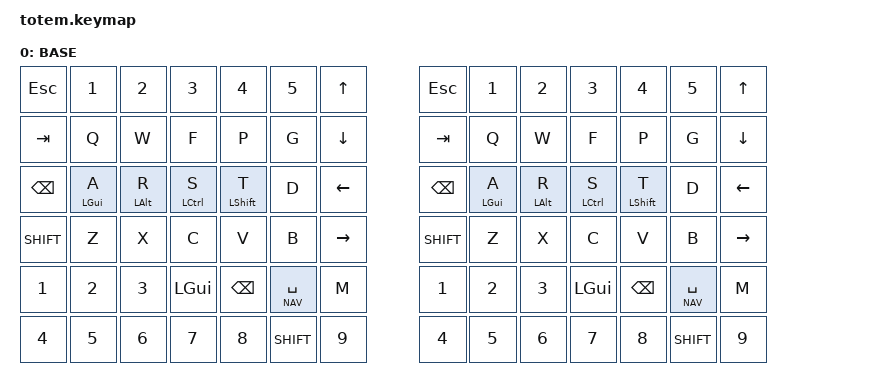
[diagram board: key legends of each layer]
#include <behaviors.dtsi>
#include <dt-bindings/zmk/keys.h>
#include <dt-bindings/zmk/bt.h>
#include <dt-bindings/zmk/outputs.h>

#define BASE 0
#define NAV  1
#define SYM  2
#define ADJ  3
#define TVP1 4
#define TVP2 5

&mt {
  quick-tap-ms = <100>;
  global-quick-tap;
  flavor = "tap-preferred";
  tapping-term-ms = <170>;
};

/ {
     combos {
            compatible = "zmk,combos";
            combo_esc {
                timeout-ms = <50>;
                key-positions = <0 1>;
                bindings = <&kp ESC>;
            };
            combo_tvp {
                timeout-ms = <100>;
                key-positions = <11 12 13>;
                bindings = <&tog TVP1>;
            };
    };

    macros {
        gif: gif {
            label = "giphy";
            compatible = "zmk,behavior-macro";
            #binding-cells = <0>;
            bindings
                = <&macro_press &kp LSHFT>
                , <&macro_tap &kp N2>
                , <&macro_release &kp LSHFT>
                , <&macro_tap &kp G &kp I &kp F>
                ;
        };
    };

        keymap {
                compatible = "zmk,keymap";
// ▄▄▄▄▄▄▄▄▄▄▄▄▄▄▄▄▄▄▄▄▄▄▄▄▄▄▄▄▄▄▄▄▄▄▄▄▄▄▄▄▄▄▄▄▄▄▄▄▄▄▄▄▄▄▄▄▄▄▄▄▄▄▄▄▄▄▄▄▄▄▄▄▄▄▄▄▄▄▄▄▄▄▄▄▄▄▄▄▄▄▄▄▄▄▄▄▄▄▄▄▄▄▄▄▄▄▄▄▄▄▄▄▄▄▄▄▄▄▄▄▄▄▄▄▄▄▄▄▄▄▄▄▄▄▄▄▄▄▄▄▄▄▄▄▄▄▄▄▄

                base_layer {
// ┏━━━━━━━━━━━━━━━━━━━━━━━━━━━━━━━━━━━━━━━┓
label= "BASE"                              ;
// ┗━━━━━━━━━━━━━━━━━━━━━━━━━━━━━━━━━━━━━━━┛
//             ┏━━━━━━━━━━━┳━━━━━━━━━━━┳━━━━━━━━━━━┳━━━━━━━━━━━┳━━━━━━━━━━━┓   ┏━━━━━━━━━━━┳━━━━━━━━━━━┳━━━━━━━━━━━┳━━━━━━━━━━━┳━━━━━━━━━━━┓
//             ┃     Q     ┃     W     ┃     F     ┃     P     ┃     G     ┃   ┃     J     ┃     L     ┃     U     ┃     Y     ┃     ;     ┃
//             ┣━━━━━━━━━━━╋━━━━━━━━━━━╋━━━━━━━━━━━╋━━━━━━━━━━━╋━━━━━━━━━━━┫   ┣━━━━━━━━━━━╋━━━━━━━━━━━╋━━━━━━━━━━━╋━━━━━━━━━━━╋━━━━━━━━━━━┫
//             ┃     A     ┃     R     ┃     S     ┃     T     ┃     D     ┃   ┃     H     ┃     N     ┃     E     ┃     I     ┃     O     ┃
// ┏━━━━━━━━━━━╋━━━━━━━━━━━╋━━━━━━━━━━━╋━━━━━━━━━━━╋━━━━━━━━━━━╋━━━━━━━━━━━┫   ┣━━━━━━━━━━━╋━━━━━━━━━━━╋━━━━━━━━━━━╋━━━━━━━━━━━╋━━━━━━━━━━━╋━━━━━━━━━━━┓
// ┃     Q     ┃     Z     ┃     X     ┃     C     ┃     V     ┃     B     ┃   ┃     K     ┃     M     ┃     ,     ┃     .     ┃     /     ┃     \     ┃
// ┗━━━━━━━━━━━┻━━━━━━━━━━━┻━━━━━━━━━━━╋━━━━━━━━━━━╋━━━━━━━━━━━╋━━━━━━━━━━━┫   ┣━━━━━━━━━━━╋━━━━━━━━━━━╋━━━━━━━━━━━╋━━━━━━━━━━━┻━━━━━━━━━━━┻━━━━━━━━━━━┛
//                                     ┃    DEL    ┃    TAB    ┃    SPC    ┃   ┃   ENTER   ┃           ┃   BSPC    ┃
//                                     ┗━━━━━━━━━━━┻━━━━━━━━━━━┻━━━━━━━━━━━┛   ┗━━━━━━━━━━━┻━━━━━━━━━━━┻━━━━━━━━━━━┛
 bindings = <
 // ╷           ╷           ╷           ╷           ╷           ╷           ╷           ╷                 ╷           ╷           ╷           ╷           ╷           ╷           ╷           ╷

    &kp ESC     &kp N1      &kp N2      &kp N3      &kp N4      &kp N5          &kp UP                    &kp ESC     &kp N1      &kp N2      &kp N3      &kp N4      &kp N5          &kp UP                 
    &kp TAB     &kp Q       &kp W       &kp F       &kp P       &kp G           &kp DOWN                  &kp TAB     &kp Q       &kp W       &kp F       &kp P       &kp G           &kp DOWN               
    &kp BSPC    &mt LGUI A  &mt LALT R  &mt LCTRL S &mt LSHFT T &kp D           &kp LEFT                  &kp BSPC    &mt LGUI A  &mt LALT R  &mt LCTRL S &mt LSHFT T &kp D           &kp LEFT               
    &kp SHIFT   &kp Z       &kp X       &kp C       &kp V       &kp B           &kp RIGHT                 &kp SHIFT   &kp Z       &kp X       &kp C       &kp V       &kp B           &kp RIGHT              
    &kp N1      &kp N2      &kp N3      &kp LGUI    &kp BSPC    &lt NAV SPACE   &kp M                     &kp N1      &kp N2      &kp N3      &kp LGUI    &kp BSPC    &lt NAV SPACE   &kp M           
    &kp N4      &kp N5      &kp N6      &kp N7      &kp N8      &kp SHIFT       &kp N9                    &kp N4      &kp N5      &kp N6      &kp N7      &kp N8      &kp SHIFT       &kp N9      
                        >;
                };
        };
};
